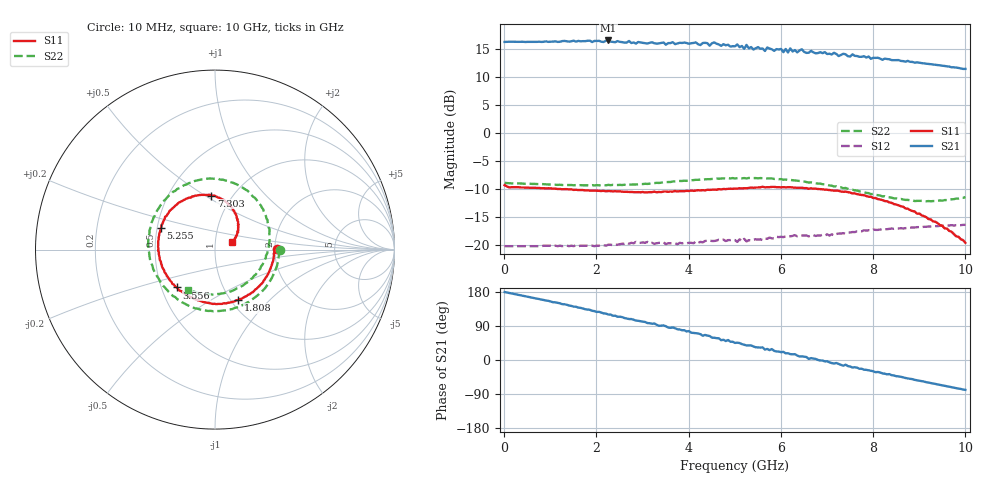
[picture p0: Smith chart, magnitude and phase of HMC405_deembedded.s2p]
!Hittite Microwave Corporation
!12 Elizabeth Drive
!Chelmsford, MA 01824
!Tel: 978-250-3343
!Fax: 978-250-3373
!Device: HMC405, DC-10 GHz, InGaP HBT GAIN BLOCK MMIC AMPLIFIER
!Misc:  Data includes (two) K connectors, Vs=+5V, Room
# MHZ S MA R 50
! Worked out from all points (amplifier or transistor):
!   201 points, 10 MHz to 10 GHz, reference 50 ohm
!   highest |S21| = 16.6 dB at 2.258 GHz (marker M1)
!   |S21| within 3 dB of that: start of sweep to 7.841 GHz (the widest 1 of 2)
!   unconditionally stable (mu >= 1): start of sweep to 1.064 GHz; 6.507 GHz to end of sweep
!   at 1.658 GHz: K = 0.95, MSG = 18.3 dB, |S12| = -20.1 dB
!   at 5.005 GHz: K = 0.86, MSG = 17.3 dB, |S12| = -19.1 dB
!   at 10 GHz: K = 1.08, MAG = 12.2 dB, |S12| = -16.4 dB
!   S11 on the Smith chart (normalised r, x): 10 MHz: 2.05, +0.03; 1.808 GHz: 1.08, -0.67; 3.556 GHz: 0.60, -0.28; 5.255 GHz: 0.53, +0.14; 7.303 GHz: 0.80, +0.53; 10 GHz: 1.21, +0.10
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10  0.344 0.9  6.558 179.4  0.098 0.1  0.361 -0.2
909.1  0.322 -32.3  6.633 156.9  0.099 -7.6  0.35 -42.7
1708.3  0.311 -61.3  6.667 136.0  0.099 -14.6  0.343 -81.4
1808.2  0.309 -65.1  6.716 133.1  0.099 -15.1  0.343 -86.4
2257.75  0.305 -82.6  6.762 120.0  0.101 -17.4  0.346 -109.0
3256.75  0.301 -122.5  6.378 96.5  0.103 -29.1  0.359 -160.1
3356.65  0.299 -126.9  6.369 90.1  0.105 -30.0  0.36 -165.1
3456.55  0.302 -131.2  6.485 91.3  0.106 -30.7  0.366 -169.9
3556.45  0.3 -135.4  6.403 85.7  0.104 -30.7  0.367 -174.7
4355.65  0.309 -167.5  6.439 66.2  0.109 -36.5  0.388 148.1
5005  0.321 167.7  5.996 45.0  0.111 -45.5  0.395 119.5
5054.95  0.321 165.8  6.231 45.8  0.107 -44.5  0.397 117.7
5204.8  0.323 160.3  5.692 40.4  0.114 -46.2  0.398 111.2
5254.75  0.323 158.5  6.168 38.5  0.108 -47.6  0.395 109.0
5304.7  0.325 157.2  5.749 38.7  0.111 -46.4  0.399 107.6
6004  0.329 133.5  5.682 20.7  0.119 -52.2  0.39 79.4
6053.95  0.33 132.1  5.316 21.5  0.118 -54.7  0.385 77.4
6203.8  0.33 127.4  5.745 15.4  0.12 -55.1  0.383 71.2
6703.3  0.32 111.9  5.298 3.7  0.123 -61.2  0.362 50.7
7302.7  0.302 93.9  5.015 -12.8  0.127 -65.5  0.329 25.1
8351.65  0.241 64.6  4.59 -37.3  0.14 -79.5  0.268 -28.1
10000  0.105 24.0  3.764 -78.9  0.152 -101.7  0.269 -123.4
